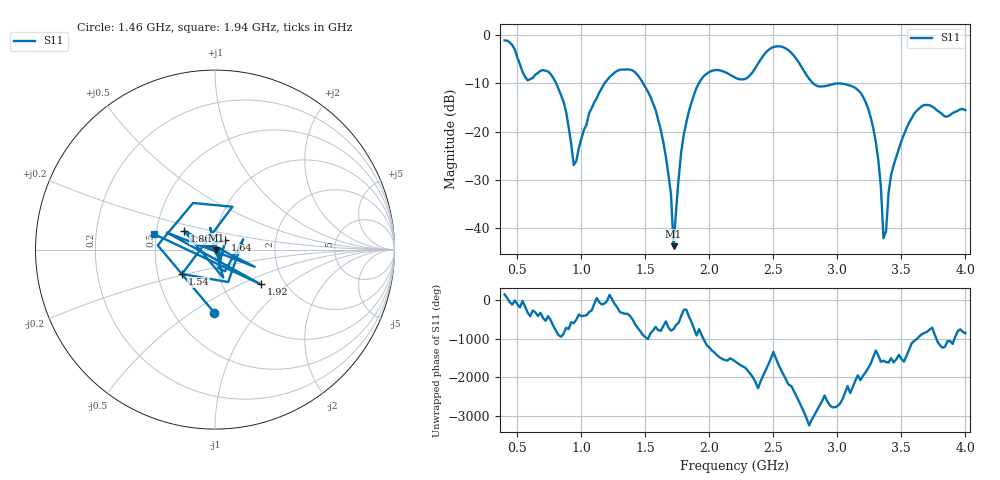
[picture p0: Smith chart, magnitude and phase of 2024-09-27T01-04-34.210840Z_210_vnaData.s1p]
!Created with skrf (http://scikit-rf.org).
# Hz S RI R 50.0
!freq ReS11 ImS11
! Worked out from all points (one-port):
!   181 points, 400 MHz to 4 GHz, reference 50 ohm
!   lowest |S11| = -43.7 dB at 1.72 GHz (marker M1), VSWR 1.01, Z = 50.5 - j0.393 ohm
!   |S11| at or under -10 dB: 802.9 MHz to 1.18 GHz (377 MHz wide, 38 % of centre); 1.482 GHz to 1.918 GHz (435.7 MHz wide, 25.6 % of centre); 2.811 GHz to end of sweep
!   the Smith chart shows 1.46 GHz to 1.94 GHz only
!   S11 on the Smith chart (normalised r, x): 1.46 GHz: 0.77, -0.62; 1.54 GHz: 0.67, -0.19; 1.64 GHz: 1.12, +0.12; 1.86 GHz: 0.69, +0.15; 1.92 GHz: 1.52, -0.65; 1.94 GHz: 0.48, +0.10
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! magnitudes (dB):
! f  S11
! 400 MHz  -1.2
! 580 MHz  -9.4
! 740 MHz  -7.6
! 860 MHz  -13.8
! 940 MHz  -26.9
! 1.1 GHz  -14.0
! 1.3 GHz  -7.2
! 1.46 GHz  -9.1
! 1.54 GHz  -12.8
! 1.64 GHz  -22.2
! 1.7 GHz  -32.9
! 1.72 GHz  -43.7
! 1.76 GHz  -29.6
! 1.86 GHz  -14.0
! 1.92 GHz  -9.9
! 1.94 GHz  -9.0
! 2.2 GHz  -8.8
! 2.5 GHz  -2.5
! 2.66 GHz  -4.3
! 2.84 GHz  -10.6
! 3.1 GHz  -10.5
! 3.28 GHz  -19.3
! 3.34 GHz  -31.5
! 3.36 GHz  -42.0
! 3.42 GHz  -28.9
! 3.56 GHz  -18.1
! 3.68 GHz  -14.5
! 4 GHz  -15.6
